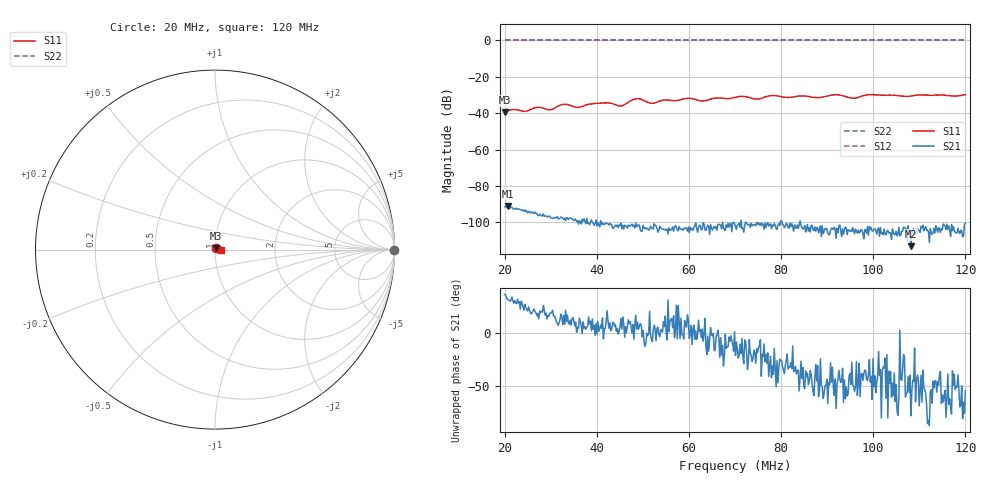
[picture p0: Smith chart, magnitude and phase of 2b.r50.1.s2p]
! Anritsu VNA Master:  Model: MS2036C/10/77
! SN:  1601066
! /card0/usr/18may27.balun/252b.r50.s2p
! Existing Calibration Information:
! TYPE:  Current Settings,  Active Cal Settings
! TIME:  05/27/2018 12:06:29 PM,  05/27/2018 11:54:56 AM
! INTERNAL TEMP:  51.3 C,  49.3 C
! # POINTS:  500,  500
! START FREQ:  20.000 MHz,  20.000 MHz
! STOP FREQ:  120.000 MHz,  120.000 MHz
! SOURCE POWER:  High,  High
! IFBW:  50 Hz,  50 Hz
! AVG FACTOR:  1 ,  1
! REF PLANE 1:  0 mm,  0 mm
! REF PLANE 2:  0 mm,  0 mm
! CAL TYPE:  Full S11,  Full S11
! CAL METHOD:  SOLT,  SOLT
! CAL LINE TYPE:  Coax,  Coax
! DUT PORT 1:  K-Conn(M),  K-Conn(M)
! DUT PORT 2:  K-Conn(M),  K-Conn(M)
! CAL STATUS:  OK: Accuracy High,  --
# GHZ S DB R 50.0
! FREQ.GHZ  S11DB  S11A  S21DB  S21A  S12DB  S12A  S22DB  S22A
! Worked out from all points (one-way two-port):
!   500 points, 20 MHz to 120 MHz, reference 50 ohm
!   highest |S21| = -91.11 dB at 20.8 MHz (marker M1); lowest = -113.1 dB at 108.2 MHz (marker M2)
!   lowest |S11| = -39.5 dB at 20 MHz (marker M3), VSWR 1.02, Z = 50.6 + j0.859 ohm
!   |S11| at or under -10 dB: start of sweep to end of sweep
!   |S22| runs from 0.0 to 0.0 dB; largest |S21 - S12| = 1
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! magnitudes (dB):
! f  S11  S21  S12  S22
! 20 MHz  -39.5  -91.4  0.0  0.0
! 20.8 MHz  -38.6  -91.1  0.0  0.0
! 24.61 MHz  -38.9  -94.0  0.0  0.0
! 27.21 MHz  -36.8  -96.3  0.0  0.0
! 30.02 MHz  -38.0  -97.6  0.0  0.0
! 32.83 MHz  -35.1  -98.5  0.0  0.0
! 36.83 MHz  -36.3  -98.5  0.0  0.0
! 41.84 MHz  -34.3  -100.9  0.0  0.0
! 45.25 MHz  -36.0  -100.5  0.0  0.0
! 48.66 MHz  -32.1  -102.4  0.0  0.0
! 51.86 MHz  -34.6  -103.1  0.0  0.0
! 53.47 MHz  -33.5  -104.5  0.0  0.0
! 59.88 MHz  -31.8  -102.6  0.0  0.0
! 63.09 MHz  -33.2  -100.2  0.0  0.0
! 70.1 MHz  -31.3  -102.3  0.0  0.0
! 86.73 MHz  -31.2  -101.7  0.0  0.0
! 92.14 MHz  -29.9  -103.3  0.0  0.0
! 95.75 MHz  -31.8  -104.3  0.0  0.0
! 98.96 MHz  -29.9  -107.1  0.0  0.0
! 103.4 MHz  -30.1  -105.8  0.0  0.0
! 108.2 MHz  -30.5  -113.1  0.0  0.0
! 120 MHz  -29.8  -100.5  0.0  0.0
